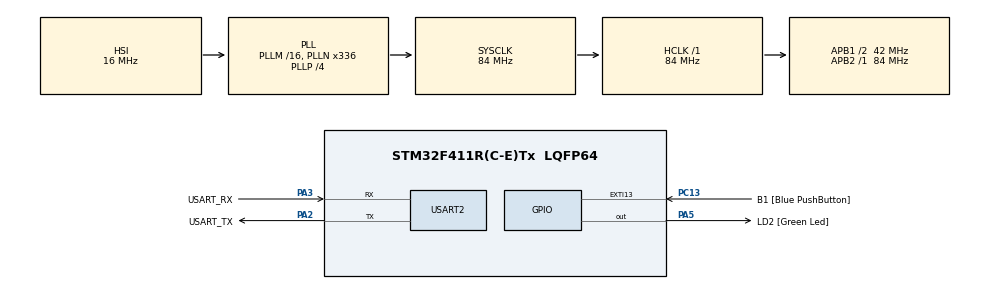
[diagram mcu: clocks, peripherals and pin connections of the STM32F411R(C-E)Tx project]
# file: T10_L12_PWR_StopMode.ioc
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Mcu.Family=STM32F4
Mcu.Name=STM32F411R(C-E)Tx
Mcu.Package=LQFP64
NVIC.EXTI15_10_IRQn=true\:0\:0\:false\:false\:true\:true\:true
NVIC.PriorityGroup=NVIC_PRIORITYGROUP_0
PA13.GPIO_Label=TMS
PA13.Mode=Serial_Wire
PA13.Signal=SYS_JTMS-SWDIO
PA14.GPIO_Label=TCK
PA14.Mode=Serial_Wire
PA14.Signal=SYS_JTCK-SWCLK
PA2.GPIO_Label=USART_TX
PA2.Mode=Asynchronous
PA2.Signal=USART2_TX
PA3.GPIO_Label=USART_RX
PA3.Mode=Asynchronous
PA3.Signal=USART2_RX
PA5.GPIO_Label=LD2 [Green Led]
PA5.Signal=GPIO_Output
PB3.GPIO_Label=SWO
PB3.Signal=SYS_JTDO-SWO
PC13-ANTI_TAMP.GPIO_Label=B1 [Blue PushButton]
PC13-ANTI_TAMP.GPIO_ModeDefaultEXTI=GPIO_MODE_IT_FALLING
PC13-ANTI_TAMP.Signal=GPXTI13
PC14-OSC32_IN.Mode=LSE-External-Oscillator
PC14-OSC32_IN.Signal=RCC_OSC32_IN
PC15-OSC32_OUT.Mode=LSE-External-Oscillator
PC15-OSC32_OUT.Signal=RCC_OSC32_OUT
PH0\ -\ OSC_IN.Mode=HSE-External-Clock-Source
PH0\ -\ OSC_IN.Signal=RCC_OSC_IN
PH1\ -\ OSC_OUT.Mode=HSE-External-Clock-Source
PH1\ -\ OSC_OUT.Signal=RCC_OSC_OUT
ProjectManager.HeapSize=0x200
ProjectManager.StackSize=0x400
ProjectManager.TargetToolchain=STM32CubeIDE
RCC.48MHZClocksFreq_Value=84000000
RCC.AHBFreq_Value=84000000
RCC.APB1CLKDivider=RCC_HCLK_DIV2
RCC.APB1Freq_Value=42000000
RCC.APB1TimFreq_Value=84000000
RCC.APB2Freq_Value=84000000
RCC.APB2TimFreq_Value=84000000
RCC.CortexFreq_Value=84000000
RCC.FLatency-AdvancedSettings=FLASH_LATENCY_2
RCC.HCLKFreq_Value=84000000
RCC.HSE_VALUE=8000000
RCC.HSI_VALUE=16000000
RCC.PLLN=336
RCC.PLLP=RCC_PLLP_DIV4
RCC.SYSCLKFreq_VALUE=84000000
RCC.SYSCLKSource=RCC_SYSCLKSOURCE_PLLCLK
RCC.VCOOutputFreq_Value=336000000
USART2.VirtualMode=VM_ASYNC
board=NUCLEO-F411RE

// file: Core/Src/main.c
/* USER CODE BEGIN Header */
/**
  ******************************************************************************
  * @file           : main.c
  * @brief          : Main program body
  ******************************************************************************
  * @attention
  *
  * Copyright (c) 2022 STMicroelectronics.
  * All rights reserved.
  *
  * This software is licensed under terms that can be found in the LICENSE file
  * in the root directory of this software component.
  * If no LICENSE file comes with this software, it is provided AS-IS.
  *
  ******************************************************************************
  */
/* USER CODE END Header */
#include "main.h"
#include "usart.h"
#include "gpio.h"

/* USER CODE BEGIN PV */
volatile uint8_t StopModeFlag = 0;
/* USER CODE END PV */

void SystemClock_Config(void);

int main(void)
{

  /* MCU Configuration--------------------------------------------------------*/

  /* Reset of all peripherals, Initializes the Flash interface and the Systick. */
  HAL_Init();

  /* Configure the system clock */
  SystemClock_Config();

  /* Initialize all configured peripherals */
  MX_GPIO_Init();
  MX_USART2_UART_Init();

  /* Infinite loop */
  /* USER CODE BEGIN WHILE */
  while (1)
  {
	for(uint8_t i =0; i<10; i++)
	{
		HAL_GPIO_TogglePin(LD2_GPIO_Port,LD2_Pin);
		HAL_Delay(100);
	}
	//HAL_SuspendTick();
	if(StopModeFlag == 0)
	{
		StopModeFlag = 1;
		HAL_PWR_EnterSTOPMode(PWR_LOWPOWERREGULATOR_ON, PWR_SLEEPENTRY_WFI);
	}
	if(StopModeFlag == 1)
	{
		SystemClock_Config();
		StopModeFlag = 0;
	}
	//HAL_ResumeTick();
    /* USER CODE END WHILE */

  }
}

void SystemClock_Config(void)
{
  RCC_OscInitTypeDef RCC_OscInitStruct = {0};
  RCC_ClkInitTypeDef RCC_ClkInitStruct = {0};

  /** Configure the main internal regulator output voltage
  */
  __HAL_RCC_PWR_CLK_ENABLE();
  __HAL_PWR_VOLTAGESCALING_CONFIG(PWR_REGULATOR_VOLTAGE_SCALE1);
  /** Initializes the RCC Oscillators according to the specified parameters
  * in the RCC_OscInitTypeDef structure.
  */
  RCC_OscInitStruct.OscillatorType = RCC_OSCILLATORTYPE_HSI;
  RCC_OscInitStruct.HSIState = RCC_HSI_ON;
  RCC_OscInitStruct.HSICalibrationValue = RCC_HSICALIBRATION_DEFAULT;
  RCC_OscInitStruct.PLL.PLLState = RCC_PLL_ON;
  RCC_OscInitStruct.PLL.PLLSource = RCC_PLLSOURCE_HSI;
  RCC_OscInitStruct.PLL.PLLM = 16;
  RCC_OscInitStruct.PLL.PLLN = 336;
  RCC_OscInitStruct.PLL.PLLP = RCC_PLLP_DIV4;
  RCC_OscInitStruct.PLL.PLLQ = 4;
  if (HAL_RCC_OscConfig(&RCC_OscInitStruct) != HAL_OK)
  {
    Error_Handler();
  }
  /** Initializes the CPU, AHB and APB buses clocks
  */
  RCC_ClkInitStruct.ClockType = RCC_CLOCKTYPE_HCLK|RCC_CLOCKTYPE_SYSCLK
                              |RCC_CLOCKTYPE_PCLK1|RCC_CLOCKTYPE_PCLK2;
  RCC_ClkInitStruct.SYSCLKSource = RCC_SYSCLKSOURCE_PLLCLK;
  RCC_ClkInitStruct.AHBCLKDivider = RCC_SYSCLK_DIV1;
  RCC_ClkInitStruct.APB1CLKDivider = RCC_HCLK_DIV2;
  RCC_ClkInitStruct.APB2CLKDivider = RCC_HCLK_DIV1;

  if (HAL_RCC_ClockConfig(&RCC_ClkInitStruct, FLASH_LATENCY_2) != HAL_OK)
  {
    Error_Handler();
  }
}

/* USER CODE BEGIN 4 */
void HAL_GPIO_EXTI_Callback(uint16_t GPIO_Pin)
{
	if(GPIO_Pin == LD2_Pin)
	{
		if(StopModeFlag == 1)
		{
			SystemClock_Config();
			StopModeFlag = 0;
		}
		HAL_UART_Transmit(&huart2, "Przycisk", sizeof("Przycisk"), 1000);
	}

}
/* USER CODE END 4 */

void Error_Handler(void)
{
  __disable_irq();
  while (1)
  {
  }
}
